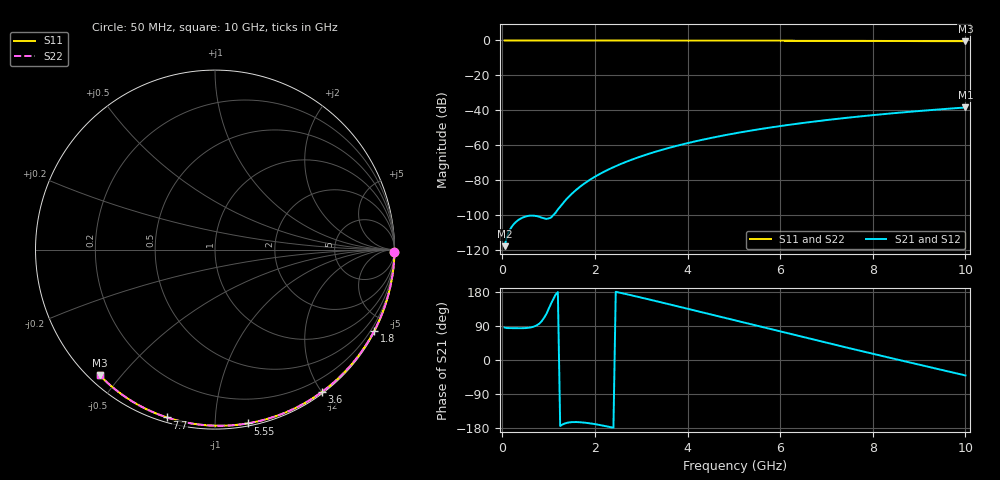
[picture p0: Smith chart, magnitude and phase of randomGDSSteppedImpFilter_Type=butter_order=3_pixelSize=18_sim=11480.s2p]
! freq	dB(S11)	phase(S11)	dB(S12)	phase(S12)
!  dB(S21)	phase(S21)	dB(S22)	phase(S22)
!S-par simulation data
#  GHz  S  DB  R 50
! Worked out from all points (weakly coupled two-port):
!   200 points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, 50 MHz to 10 GHz, reference 50 ohm
!   highest |S21| = -38.30 dB at 10 GHz (marker M1); lowest = -117.5 dB at 50 MHz (marker M2)
!   lowest |S11| = -0.4 dB at 10 GHz (marker M3), VSWR 38.88, Z = 1.53 - j21.9 ohm
!   |S11| at or under -10 dB: nowhere
!   |S22| runs from -0.4 to 0.0 dB; largest |S21 - S12| = 0
!   S11 on the Smith chart (normalised r, x): 50 MHz: open; 1.8 GHz: 0.04, -4.13; 3.6 GHz: 0.02, -2.00; 5.55 GHz: 0.02, -1.20; 7.7 GHz: 0.02, -0.75; 10 GHz: 0.03, -0.44
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0.05  -0.00 -0.8  -117.53 85.6  -117.53 85.6  -0.00 -0.8
0.45  -0.01 -6.9  -101.08 83.9  -101.08 83.9  -0.01 -6.9
0.9  -0.02 -13.7  -101.64 110.9  -101.64 110.9  -0.02 -13.7
1.75  -0.03 -26.5  -82.15 -165.0  -82.15 -165.0  -0.03 -26.5
1.8  -0.03 -27.2  -81.21 -165.6  -81.21 -165.6  -0.03 -27.2
1.85  -0.04 -27.9  -80.32 -166.4  -80.32 -166.4  -0.04 -27.9
1.9  -0.04 -28.7  -79.47 -167.3  -79.47 -167.3  -0.04 -28.7
2.05  -0.04 -30.9  -77.09 -170.3  -77.09 -170.3  -0.04 -30.9
2.25  -0.04 -33.8  -74.29 -175.0  -74.29 -175.0  -0.04 -33.8
2.65  -0.05 -39.7  -69.59 174.6  -69.59 174.6  -0.05 -39.7
3  -0.06 -44.7  -66.18 164.7  -66.18 164.7  -0.06 -44.7
3.4  -0.07 -50.4  -62.85 153.1  -62.85 153.1  -0.07 -50.4
3.6  -0.07 -53.2  -61.36 147.2  -61.36 147.2  -0.07 -53.2
4.3  -0.09 -62.8  -56.86 126.2  -56.86 126.2  -0.09 -62.8
5.05  -0.11 -72.9  -52.94 103.7  -52.94 103.7  -0.11 -72.9
5.55  -0.13 -79.4  -50.71 88.7  -50.71 88.7  -0.13 -79.4
6.1  -0.15 -86.4  -48.54 72.3  -48.54 72.3  -0.15 -86.4
6.7  -0.18 -93.9  -46.44 54.5  -46.44 54.5  -0.18 -93.9
7.7  -0.24 -106.0  -43.46 25.2  -43.46 25.2  -0.24 -106.0
8.35  -0.29 -113.7  -41.79 6.3  -41.79 6.3  -0.29 -113.7
9.15  -0.36 -122.9  -39.98 -16.6  -39.98 -16.6  -0.36 -122.9
10  -0.45 -132.6  -38.30 -40.7  -38.30 -40.7  -0.45 -132.6
